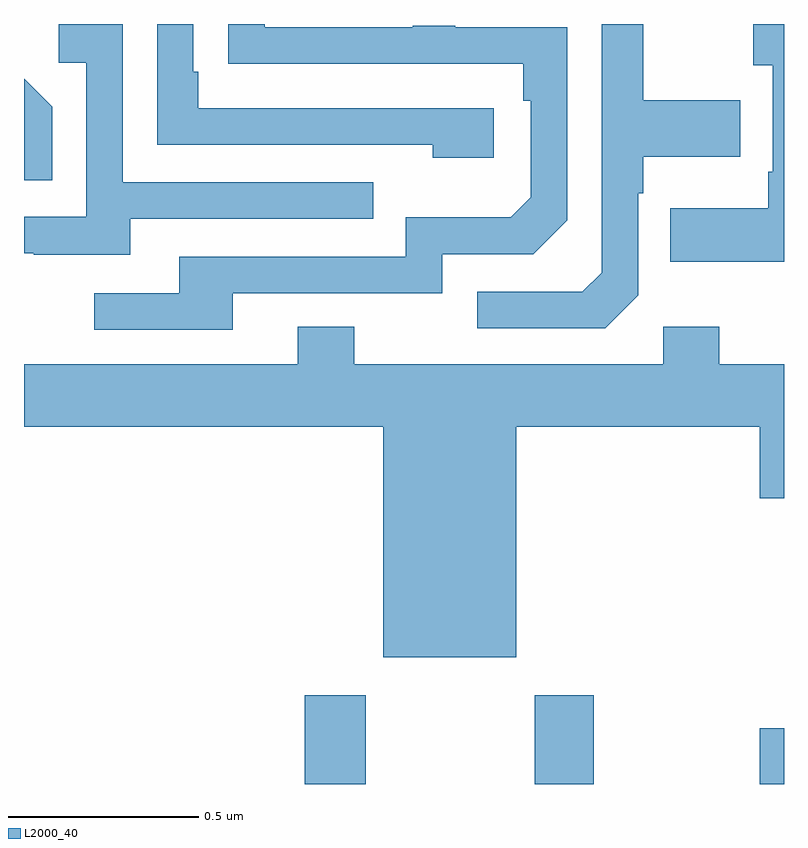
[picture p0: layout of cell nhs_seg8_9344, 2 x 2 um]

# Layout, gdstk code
import gdstk
lib = gdstk.Library(unit=1e-6, precision=1e-09)
def R(c, l, rs):  # rectangles x0, y0, x1, y1
    for r in rs: c.add(gdstk.rectangle(r[:2], r[2:], *l))
def P(c, l, *ps):  # polygons
    for p in ps: c.add(gdstk.Polygon(p, *l))
L2000_40 = (2000, 40)

nhs_seg8_9344 = lib.new_cell('nhs_seg8_9344')
R(nhs_seg8_9344, L2000_40, [(235.739,1108.9,235.899,1109.134), (236.344,1108.9,236.499,1109.134), (236.936,1108.9,237,1109.047)])
P(nhs_seg8_9344, L2000_40, [(237,1110.9),(236.919,1110.9),(236.919,1110.791),(236.97,1110.791),(236.97,1110.511),(236.958,1110.511),(236.958,1110.415),(236.701,1110.415),(236.701,1110.275),(237,1110.275)],
  [(235.549,1110.192),(236.1,1110.192),(236.1,1110.294),(236.34,1110.294),(236.43,1110.384),(236.43,1110.891),(236.135,1110.891),(236.135,1110.896),(236.023,1110.896),(236.023,1110.891),(235.633,1110.891),(235.633,1110.9),(235.537,1110.9),(235.537,1110.796),(235.639,1110.796),(235.639,1110.795),(236.314,1110.795),(236.314,1110.698),(236.334,1110.698),(236.334,1110.444),(236.281,1110.391),(236.004,1110.391),(236.004,1110.288),(235.409,1110.288),(235.409,1110.192),(235.185,1110.192),(235.185,1110.096),(235.549,1110.096)],
  [(236.236,1110.678),(235.459,1110.678),(235.459,1110.775),(235.446,1110.775),(235.446,1110.9),(235.35,1110.9),(235.35,1110.582),(236.075,1110.582),(236.075,1110.548),(236.236,1110.548)],
  [(236.616,1110.186),(236.616,1110.455),(236.629,1110.455),(236.629,1110.551),(236.885,1110.551),(236.885,1110.699),(236.629,1110.699),(236.629,1110.9),(236.52,1110.9),(236.52,1110.246),(236.469,1110.195),(236.193,1110.195),(236.193,1110.099),(236.529,1110.099)],
  [(235.279,1110.387),(235.919,1110.387),(235.919,1110.483),(235.26,1110.483),(235.26,1110.899),(235.092,1110.899),(235.092,1110.798),(235.164,1110.798),(235.164,1110.393),(235,1110.393),(235,1110.297),(235.025,1110.297),(235.025,1110.293),(235.279,1110.293)],
  [(235.074,1110.682),(235,1110.756),(235,1110.489),(235.074,1110.489)],
  [(236.296,1109.84),(236.936,1109.84),(236.936,1109.652),(237,1109.652),(237,1110.004),(236.829,1110.004),(236.829,1110.103),(236.682,1110.103),(236.682,1110.004),(235.869,1110.004),(235.869,1110.103),(235.721,1110.103),(235.721,1110.004),(235,1110.004),(235,1109.84),(235.946,1109.84),(235.946,1109.234),(236.296,1109.234)])

lib.write_gds('nhs_seg8_9344.gds')
